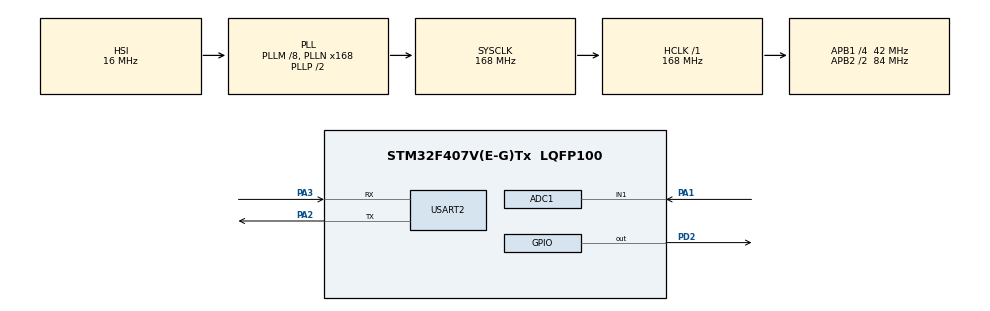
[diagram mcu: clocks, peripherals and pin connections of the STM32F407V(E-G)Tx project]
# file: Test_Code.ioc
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ADC1.Channel-0\#ChannelRegularConversion=ADC_CHANNEL_1
ADC1.NbrOfConversionFlag=1
ADC1.Rank-0\#ChannelRegularConversion=1
ADC1.SamplingTime-0\#ChannelRegularConversion=ADC_SAMPLETIME_3CYCLES
ADC1.master=1
Mcu.Family=STM32F4
Mcu.Name=STM32F407V(E-G)Tx
Mcu.Package=LQFP100
NVIC.ADC_IRQn=true\:0\:0\:false\:false\:true\:true\:true\:true
NVIC.PriorityGroup=NVIC_PRIORITYGROUP_4
PA1.Signal=ADCx_IN1
PA13.Mode=Serial_Wire
PA13.Signal=SYS_JTMS-SWDIO
PA14.Mode=Serial_Wire
PA14.Signal=SYS_JTCK-SWCLK
PA2.Mode=Asynchronous
PA2.Signal=USART2_TX
PA3.Mode=Asynchronous
PA3.Signal=USART2_RX
PD2.Signal=GPIO_Output
PH0-OSC_IN.Mode=HSE-External-Oscillator
PH0-OSC_IN.Signal=RCC_OSC_IN
PH1-OSC_OUT.Mode=HSE-External-Oscillator
PH1-OSC_OUT.Signal=RCC_OSC_OUT
ProjectManager.HeapSize=0x200
ProjectManager.StackSize=0x400
ProjectManager.TargetToolchain=STM32CubeIDE
RCC.48MHZClocksFreq_Value=84000000
RCC.AHBFreq_Value=168000000
RCC.APB1CLKDivider=RCC_HCLK_DIV4
RCC.APB1Freq_Value=42000000
RCC.APB1TimFreq_Value=84000000
RCC.APB2CLKDivider=RCC_HCLK_DIV2
RCC.APB2Freq_Value=84000000
RCC.APB2TimFreq_Value=168000000
RCC.CortexFreq_Value=168000000
RCC.HCLKFreq_Value=168000000
RCC.HSE_VALUE=25000000
RCC.HSI_VALUE=16000000
RCC.LSE_VALUE=32768
RCC.PLLM=8
RCC.PLLN=168
RCC.SYSCLKFreq_VALUE=168000000
RCC.SYSCLKSource=RCC_SYSCLKSOURCE_PLLCLK
RCC.VCOOutputFreq_Value=336000000
SH.ADCx_IN1.0=ADC1_IN1,IN1
USART2.VirtualMode=VM_ASYNC
board=custom

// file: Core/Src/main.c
/* USER CODE BEGIN Header */
/**
  ******************************************************************************
  * @file           : main.c
  * @brief          : Main program body
  ******************************************************************************
  * @attention
  *
  * Copyright (c) 2026 STMicroelectronics.
  * All rights reserved.
  *
  * This software is licensed under terms that can be found in the LICENSE file
  * in the root directory of this software component.
  * If no LICENSE file comes with this software, it is provided AS-IS.
  *
  ******************************************************************************
  */
/* USER CODE END Header */
#include "main.h"
#include "adc.h"
#include "usart.h"
#include "gpio.h"

/* USER CODE BEGIN Includes */
#include <stdio.h>
#include <string.h>
#include "arm_math.h"

/* USER CODE END Includes */

void SystemClock_Config(void);

/* USER CODE BEGIN 0 */
//int _write(int fd, char *ptr, int len)
//{
//	if(fd==1 || fd==2)
//	{
//		if (HAL_UART_Transmit(&huart2, (uint8_t *)ptr, len, HAL_MAX_DELAY) == HAL_OK)
//			return len;
//		return -1;
//	}
//	return -1;
//}

volatile uint8_t flag = 0;
uint32_t val = 0;
void HAL_ADC_ConvCpltCallback(ADC_HandleTypeDef* hadc1)
{
//	if(flag == 1)
//	{
		val = HAL_ADC_GetValue(hadc1);
		flag = 1;
//		if(val > 0)
//		{
//		HAL_GPIO_TogglePin(GPIOD, GPIO_PIN_2);
//		}
		//flag = 0;
	//}
	HAL_ADC_Start_IT(hadc1);
}
char buffer[50];

void rec_to_polar(float32_t *sig_src_rex_arr,
		          float32_t *sig_src_imx_arr,
				  flaot32_t *sig_out_mag_arr,
				  flaot32_t *sig_out_phase_arr,
				  uint32_t   signal_len);
void polar_to_rec(float32_t* sig_out_rex_arr,
		          float32_t* sig_out_imx_arr,
				  floatt32_t* sig_src_mag_arr,
				  float32_t*  signal_len);

/* USER CODE END 0 */

int main(void)
{

  /* MCU Configuration--------------------------------------------------------*/

  /* Reset of all peripherals, Initializes the Flash interface and the Systick. */
  HAL_Init();

  /* Configure the system clock */
  SystemClock_Config();

  /* Initialize all configured peripherals */
  MX_GPIO_Init();
  MX_ADC1_Init();
  MX_USART2_UART_Init();
  /* USER CODE BEGIN 2 */
  HAL_ADC_Start_IT(&hadc1);
  /* USER CODE END 2 */

  /* Infinite loop */
  while (1)
  {

    /* USER CODE BEGIN 3 */
	  if(flag = 1)
	  {
		  flag = 0;
//		  printf("%ld\r\n",val);

		  sprintf(buffer, " %ld\r\n", val);
		  HAL_UART_Transmit(&huart2,
		                    (uint8_t *)buffer,
		                    strlen(buffer),
		                    HAL_MAX_DELAY);

	  }
  }
}
void rec_to_polar(float32_t *sig_src_rex_arr,
		          float32_t *sig_src_imx_arr,
				  flaot32_t *sig_out_mag_arr,
				  flaot32_t *sig_out_phase_arr,
				  uint32_t   signal_len)
{
	int k;
	for(k = 0;k<signal_len;k++)
	{
		sig_out_mag_arr[k] = sqrt(powf(sig_src_rex_arr,2)+powf(sig_src_imx_arr,2));

		//anomaly conditions found through testing
		if(sig_src_rex_arr[k] ==0) sig_src_rex_arr[k] = pow(10,-20);
		sig_out_phase_arr[k] = atan(sig_src_imx_arr[k]/sig_src_arr[k]);
		if((sig_src_rex_arr[k]<0)&&(sig_src_imx_arr[k]<0))sig_out_phase_arr[k] = sig_out_phase_arr[k]-PI;
		if((sig_src_rex_arr[k]<0)&&(sig_src_imx_arr[k]>=0)) sig_out_phase_arr[k] ==sig_out_phase_arr[k]+PI;

	}
}

void polar_to_rec(float32_t* sig_out_rex_arr,
		          float32_t* sig_out_imx_arr,
				  floatt32_t* sig_src_mag_arr,
				  float32_t*  signal_len)
{
	int k = 0;
	for(k; k<signal_len;k++)
	{
		sig_out_rex_arr[k] = sig_src_mag_arr[k]*cosf(sig_src_phase_arr[k]);
		sig_out_imx_arr[k] = sig_src_mag_arr[k]*sinf(sig_src_phase_arr[k]);
	}
}
/* USER CODE END 3 */

void SystemClock_Config(void)
{
  RCC_OscInitTypeDef RCC_OscInitStruct = {0};
  RCC_ClkInitTypeDef RCC_ClkInitStruct = {0};

  /** Configure the main internal regulator output voltage
  */
  __HAL_RCC_PWR_CLK_ENABLE();
  __HAL_PWR_VOLTAGESCALING_CONFIG(PWR_REGULATOR_VOLTAGE_SCALE1);

  /** Initializes the RCC Oscillators according to the specified parameters
  * in the RCC_OscInitTypeDef structure.
  */
  RCC_OscInitStruct.OscillatorType = RCC_OSCILLATORTYPE_HSI;
  RCC_OscInitStruct.HSIState = RCC_HSI_ON;
  RCC_OscInitStruct.HSICalibrationValue = RCC_HSICALIBRATION_DEFAULT;
  RCC_OscInitStruct.PLL.PLLState = RCC_PLL_ON;
  RCC_OscInitStruct.PLL.PLLSource = RCC_PLLSOURCE_HSI;
  RCC_OscInitStruct.PLL.PLLM = 8;
  RCC_OscInitStruct.PLL.PLLN = 168;
  RCC_OscInitStruct.PLL.PLLP = RCC_PLLP_DIV2;
  RCC_OscInitStruct.PLL.PLLQ = 4;
  if (HAL_RCC_OscConfig(&RCC_OscInitStruct) != HAL_OK)
  {
    Error_Handler();
  }

  /** Initializes the CPU, AHB and APB buses clocks
  */
  RCC_ClkInitStruct.ClockType = RCC_CLOCKTYPE_HCLK|RCC_CLOCKTYPE_SYSCLK
                              |RCC_CLOCKTYPE_PCLK1|RCC_CLOCKTYPE_PCLK2;
  RCC_ClkInitStruct.SYSCLKSource = RCC_SYSCLKSOURCE_PLLCLK;
  RCC_ClkInitStruct.AHBCLKDivider = RCC_SYSCLK_DIV1;
  RCC_ClkInitStruct.APB1CLKDivider = RCC_HCLK_DIV4;
  RCC_ClkInitStruct.APB2CLKDivider = RCC_HCLK_DIV2;

  if (HAL_RCC_ClockConfig(&RCC_ClkInitStruct, FLASH_LATENCY_5) != HAL_OK)
  {
    Error_Handler();
  }
}

void Error_Handler(void)
{
  __disable_irq();
  while (1)
  {
  }
}
